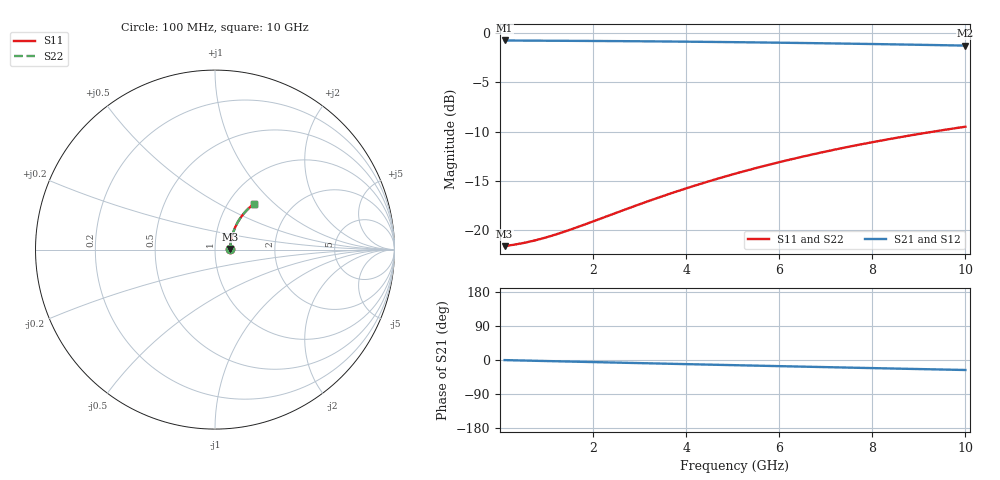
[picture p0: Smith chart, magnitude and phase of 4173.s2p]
# Hz S RI R 50.00
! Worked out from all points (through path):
!   100 points, 100 MHz to 10 GHz, reference 50 ohm
!   highest |S21| = -0.75 dB at 100 MHz (marker M1); lowest = -1.3 dB at 10 GHz (marker M2)
!   group delay of S21, straight-line fit = 7.34 ps
!   lowest |S11| = -21.6 dB at 100 MHz (marker M3), VSWR 1.18, Z = 59 + j0.37 ohm
!   |S11| at or under -10 dB: start of sweep to 9.326 GHz
!   |S22| runs from -21.6 to -9.5 dB; largest |S21 - S12| = 0
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1e8  0.0827 0.00311  0.9173 -0.0044  0.9173 -0.0044  0.0827 0.00311
5e8  0.0844 0.0155  0.9155 -0.0219  0.9155 -0.0219  0.0844 0.0155
7e8  0.0852 0.0217  0.9147 -0.0307  0.9147 -0.0307  0.0852 0.0217
9e8  0.086 0.0278  0.9139 -0.0394  0.9139 -0.0394  0.086 0.0278
1.1e9  0.0869 0.034  0.913 -0.0481  0.913 -0.0481  0.0869 0.034
1.3e9  0.0879 0.0401  0.912 -0.0568  0.912 -0.0568  0.0879 0.0401
1.8e9  0.0907 0.0552  0.909 -0.0784  0.909 -0.0784  0.0907 0.0552
2.8e9  0.0982 0.085  0.9011 -0.121  0.9011 -0.121  0.0982 0.085
3.4e9  0.1039 0.1024  0.8951 -0.1461  0.8951 -0.1461  0.1039 0.1024
3.8e9  0.1082 0.1137  0.8905 -0.1627  0.8905 -0.1627  0.1082 0.1137
4.2e9  0.1129 0.1249  0.8855 -0.179  0.8855 -0.179  0.1129 0.1249
4.6e9  0.118 0.1358  0.8801 -0.195  0.8801 -0.195  0.118 0.1358
5.1e9  0.1249 0.1491  0.8728 -0.2148  0.8728 -0.2148  0.1249 0.1491
5.5e9  0.1308 0.1594  0.8665 -0.2303  0.8665 -0.2303  0.1308 0.1594
5.9e9  0.1371 0.1695  0.8598 -0.2456  0.8598 -0.2456  0.1371 0.1695
6.3e9  0.1437 0.1793  0.8528 -0.2605  0.8528 -0.2605  0.1437 0.1793
6.7e9  0.1506 0.1887  0.8454 -0.2752  0.8454 -0.2752  0.1506 0.1887
7.5e9  0.1653 0.2067  0.8297 -0.3036  0.8297 -0.3036  0.1653 0.2067
7.9e9  0.1731 0.2153  0.8214 -0.3173  0.8214 -0.3173  0.1731 0.2153
8.4e9  0.1831 0.2254  0.8107 -0.3339  0.8107 -0.3339  0.1831 0.2254
9.2e9  0.1999 0.2405  0.7927 -0.3595  0.7927 -0.3595  0.1999 0.2405
1e10  0.2174 0.2543  0.7738 -0.3837  0.7738 -0.3837  0.2174 0.2543
